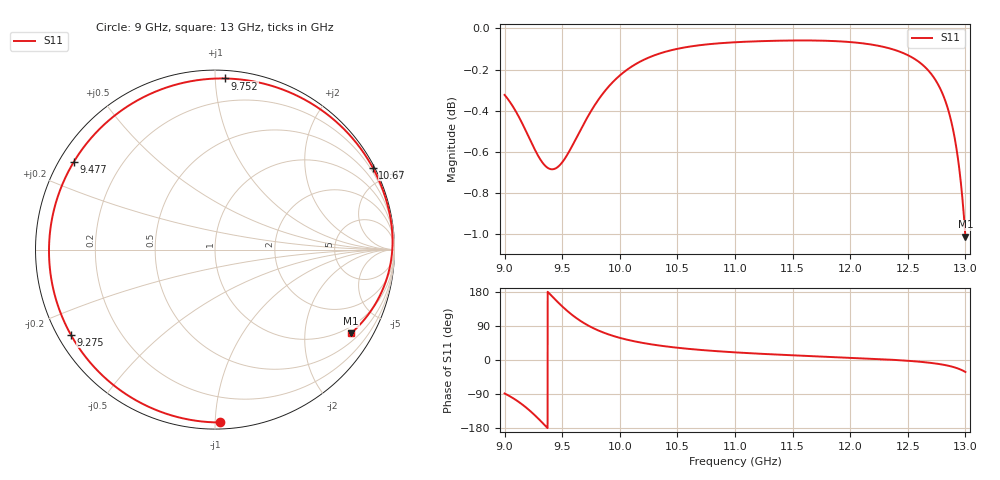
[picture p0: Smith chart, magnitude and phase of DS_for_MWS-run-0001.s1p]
! TOUCHSTONE file generated by CST DESIGN STUDIO
! Date and time: Tue Feb  4 12:57:18 2025
! Project name: C:\Work\MatlabApps\UnitCellOptimizationMatlab\CST\unitcell.cst
! Tree item: Tasks\Sweep1\SPara1\S-Parameters
! Header version: 2024
! Port assignment regex: !\s*Touchstone port\s*([0-9]+)\s*=\s*(CST MWS port|CST DES external port|CST DES block port)\s*(.+)\s* \(\"(.*)\"\)(\s*mode\s*([0-9]+))?.*
! Touchstone port assignment:
! Touchstone port 1 = CST DES external port 1 ("")
# GHz S MA R 50
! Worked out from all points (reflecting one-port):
!   4001 points, 9 GHz to 13 GHz, reference 50 ohm
!   lowest |S11| = -1.0 dB at 13 GHz (marker M1), VSWR 17.17, Z = 37.7 - j169 ohm
!   phase of S11 starts at -88 deg and turns -303 deg over the sweep
!   S11 on the Smith chart (normalised r, x): 9 GHz: 0.04, -1.03; 9.275 GHz: 0.04, -0.27; 9.477 GHz: 0.04, +0.28; 9.752 GHz: 0.05, +1.06; 10.67 GHz: 0.09, +4.09; 13 GHz: 0.75, -3.38
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9  0.9635 -88.3
9.08  0.9564 -102.0
9.148  0.9488 -116.2
9.212  0.9407 -131.9
9.275  0.9329 -149.5
9.327  0.9278 -165.2
9.376  0.9248 179.4
9.425  0.9243 163.9
9.477  0.9262 148.2
9.5  0.9278 141.5
9.557  0.9331 126.2
9.615  0.9396 112.3
9.679  0.947 99.2
9.752  0.955 86.7
9.87  0.9655 71.1
10  0.974 58.4
10.101  0.9788 51.0
10.216  0.9828 44.2
10.5  0.9886 32.3
10.667  0.9904 27.4
11  0.9923 20.2
11.5  0.9932 12.4
12  0.9924 6.0
12.5  0.9851 -2.1
12.691  0.9758 -7.3
12.834  0.9588 -14.0
12.924  0.9344 -21.2
13  0.8899 -31.6
